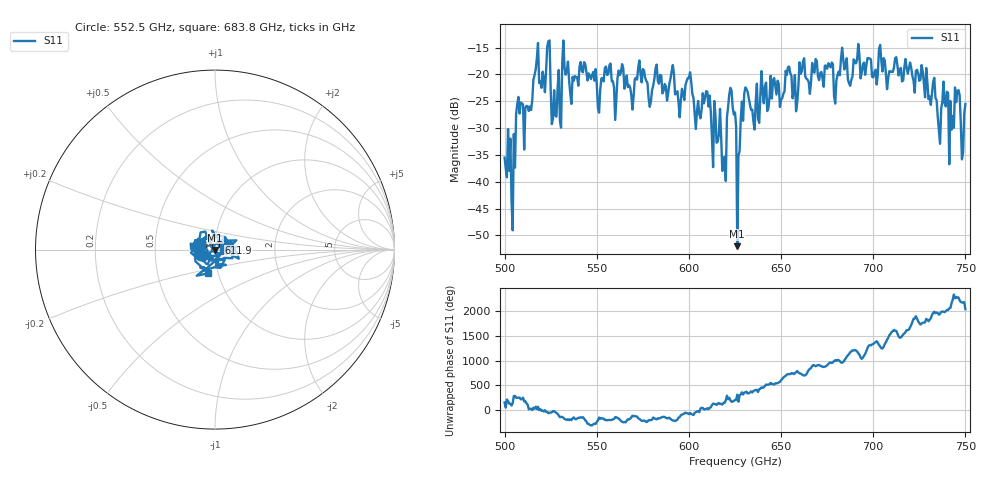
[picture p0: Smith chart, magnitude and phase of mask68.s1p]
!Created with skrf (http://scikit-rf.org).
# GHz S MA R 50.0
!freq magS11 angS11
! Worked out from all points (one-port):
!   401 points, 500 GHz to 750 GHz, reference 50 ohm
!   lowest |S11| = -52.0 dB at 626.2 GHz (marker M1), VSWR 1.01, Z = 50.2 - j0.184 ohm
!   |S11| at or under -10 dB: start of sweep to end of sweep
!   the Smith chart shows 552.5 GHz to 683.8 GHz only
!   S11 on the Smith chart (normalised r, x): 552.5 GHz: 0.84, -0.06; 611.9 GHz: 1.04, +0.08; 683.8 GHz: 0.90, -0.24
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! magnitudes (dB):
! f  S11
! 500 GHz  -35.5
! 504.4 GHz  -49.1
! 507.5 GHz  -24.2
! 511.9 GHz  -25.9
! 516.9 GHz  -19.0
! 523.8 GHz  -13.8
! 526.9 GHz  -22.9
! 531.2 GHz  -18.0
! 552.5 GHz  -20.7
! 562.5 GHz  -20.1
! 593.8 GHz  -23.1
! 600 GHz  -20.7
! 611.9 GHz  -27.0
! 618.8 GHz  -35.8
! 622.5 GHz  -22.5
! 625 GHz  -27.1
! 626.2 GHz  -52.0
! 631.2 GHz  -22.7
! 634.4 GHz  -26.5
! 656.2 GHz  -24.4
! 683.8 GHz  -17.2
! 687.5 GHz  -22.1
! 718.8 GHz  -19.9
! 735.6 GHz  -30.5
! 739.4 GHz  -26.0
! 742.5 GHz  -30.3
! 745.6 GHz  -23.1
! 750 GHz  -25.5
